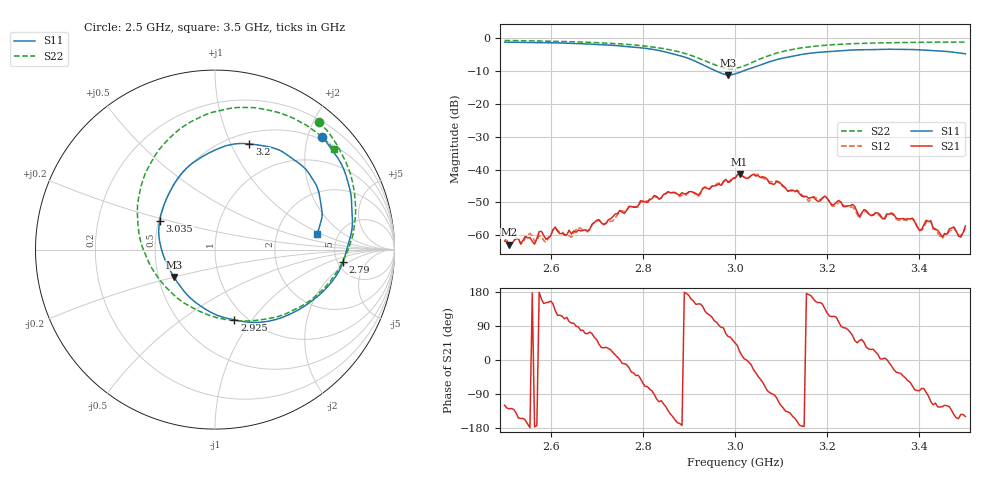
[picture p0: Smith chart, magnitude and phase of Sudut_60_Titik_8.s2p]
# Hz S RI R 50
! CMT, C1220, 16058040, 17.2.0/1
! Date: 15/08/2018 09:54:31
! Data: Format (Calibration Info)
! Freq  S11: Re/Im (F2)  S21: Re/Im (F2)  S12: Re/Im (F2)  S22: Re/Im (F2)
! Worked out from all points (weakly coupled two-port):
!   201 points, 2.5 GHz to 3.5 GHz, reference 50 ohm
!   highest |S21| = -41.33 dB at 3.01 GHz (marker M1); lowest = -62.8 dB at 2.51 GHz (marker M2)
!   lowest |S11| = -11.2 dB at 2.985 GHz (marker M3), VSWR 1.76, Z = 30.1 - j9.92 ohm
!   |S11| at or under -10 dB: 2.958 GHz to 3.018 GHz (59.92 MHz wide, 2.01 % of centre)
!   |S22| runs from -9.3 to -0.7 dB; largest |S21 - S12| = 0.00059
!   S11 on the Smith chart (normalised r, x): 2.5 GHz: 0.45, +2.26; 2.79 GHz: 5.55, -1.61; 2.925 GHz: 0.88, -0.83; 3.035 GHz: 0.51, +0.19; 3.2 GHz: 0.62, +1.18; 3.5 GHz: 3.44, +0.92
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2.5e9  0.5976 0.6263  -0.000403 -0.000717  -0.000409 -0.000752  0.5784 0.7131
2.51e9  0.6102 0.6119  -0.000452 -0.000563  -0.000441 -0.000524  0.5896 0.7021
2.555e9  0.6574 0.5468  -0.000928 -2.53e-05  -0.00107 -8.18e-05  0.639 0.6442
2.59e9  0.6977 0.4882  -0.000765 0.000421  -0.000724 0.000303  0.6747 0.5909
2.61e9  0.7153 0.4521  -0.000864 0.00102  -0.000887 0.000962  0.6939 0.5564
2.67e9  0.757 0.3089  0.000232 0.00116  0.000324 0.00116  0.7482 0.4398
2.79e9  0.7122 -0.0707  0.00216 -0.00182  0.00197 -0.00183  0.7701 0.0899
2.835e9  0.6031 -0.2324  -0.00122 -0.00335  -0.00114 -0.00336  0.7037 -0.0825
2.925e9  0.1085 -0.3914  -0.00378 0.00238  -0.00372 0.00214  0.2856 -0.3864
2.985e9  -0.2289 -0.1521  0.003 0.00566  0.00285 0.00584  -0.1755 -0.2956
3e9  -0.279 -0.0557  0.00522 0.00524  0.00546 0.00497  -0.2746 -0.208
3.01e9  -0.3 0.00873  0.00792 0.00329  0.00754 0.00324  -0.3298 -0.1385
3.035e9  -0.3081 0.1612  0.00793 -0.00174  0.00794 -0.00158  -0.4163 0.0523
3.17e9  0.0987 0.5869  -0.00361 0.0012  -0.00374 0.000979  -0.0716 0.743
3.2e9  0.192 0.5887  -0.00202 0.00304  -0.00188 0.00314  0.041 0.778
3.27e9  0.3784 0.5437  0.00119 0.00149  0.00109 0.00145  0.2626 0.784
3.335e9  0.5054 0.4481  0.00208 -0.000291  0.00213 -0.000469  0.4154 0.7409
3.4e9  0.5752 0.329  0.000184 -0.00118  0.00012 -0.00118  0.5318 0.6765
3.425e9  0.5878 0.2676  -0.00055 -0.00153  -0.000628 -0.00156  0.5704 0.649
3.45e9  0.5965 0.2071  -0.000515 -0.000792  -0.000455 -0.00077  0.6053 0.6194
3.49e9  0.578 0.1124  -0.000759 -0.00056  -0.000856 -0.000525  0.6523 0.5711
3.5e9  0.5683 0.0892  -0.00119 -0.000711  -0.00113 -0.000591  0.6633 0.5594
